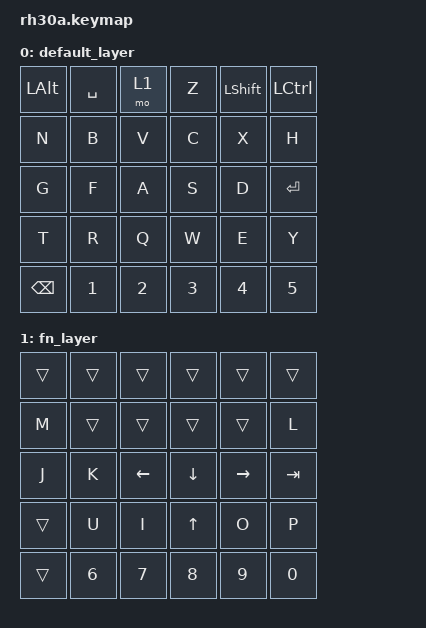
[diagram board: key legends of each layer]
#include <behaviors.dtsi>
#include <dt-bindings/zmk/keys.h>

/ {
    keymap {
        compatible = "zmk,keymap";

        default_layer {
            // row0 (bottom row)
            // row1
            // row2
            // row3
            // row4 (top row)
            bindings = <
                &kp LALT   &kp SPACE  &mo 1      &kp Z      &kp LSHFT  &kp LCTRL
                &kp N      &kp B      &kp V      &kp C      &kp X      &kp H
                &kp G      &kp F      &kp A      &kp S      &kp D      &kp RET
                &kp T      &kp R      &kp Q      &kp W      &kp E      &kp Y
                &kp BSPC   &kp N1     &kp N2     &kp N3     &kp N4     &kp N5
            >;
        };

        fn_layer {
            bindings = <
                &trans     &trans     &trans     &trans     &trans     &trans
                &kp M      &trans     &trans     &trans     &trans     &kp L
                &kp J      &kp K      &kp LEFT   &kp DOWN   &kp RIGHT  &kp TAB
                &trans     &kp U      &kp I      &kp UP     &kp O      &kp P
                &trans     &kp N6     &kp N7     &kp N8     &kp N9     &kp N0
            >;
        };
    };
};
